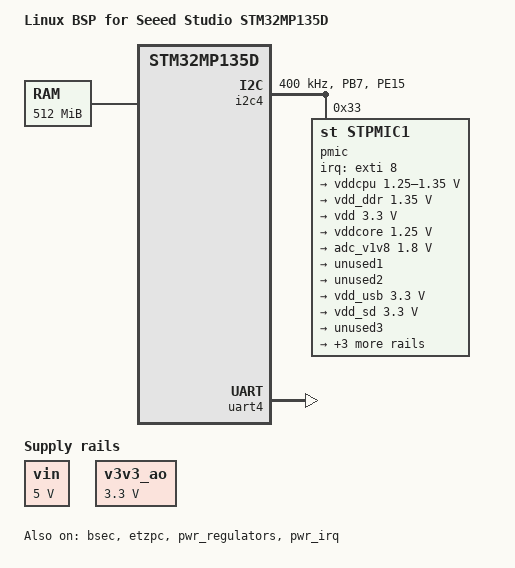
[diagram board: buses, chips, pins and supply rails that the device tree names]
// SPDX-License-Identifier: (GPL-2.0+ OR BSD-3-Clause)
/*
 * Copyright (C) 2026, STMicroelectronics - All Rights Reserved
 * Author: STM32CubeMX code generation for STMicroelectronics.
 */

/* For more information on Device Tree configuration, please refer to
 * https://wiki.st.com/stm32mpu/wiki/Category:Device_tree_configuration
 */

/dts-v1/;

#include <dt-bindings/pinctrl/stm32-pinfunc.h>
#include <dt-bindings/clock/stm32mp13-clksrc.h>
#include <dt-bindings/soc/stm32mp13-etzpc.h>
#include "stm32mp135.dtsi"
#include "stm32mp13xd.dtsi"

/* USER CODE BEGIN includes */
#include <dt-bindings/gpio/stm32mp_gpio.h>
#include <dt-bindings/mfd/st,stpmic1.h>
#include <dt-bindings/power/stm32mp1-power.h>
#include <dt-bindings/regulator/st,stm32mp13-regulator.h>
#include "stm32mp13-pinctrl.dtsi"
/* USER CODE END includes */

/ {
	model = "Linux BSP for Seeed Studio STM32MP135D";
	compatible = "seeed,stm32mp135d-odyssey-mx";

	memory@c0000000 {
		device_type = "memory";
		reg = <0xc0000000 0x20000000>;

		/* USER CODE BEGIN memory */
		/* USER CODE END memory */
	};

	reserved-memory {
		#address-cells = <1>;
		#size-cells = <1>;
		ranges;

		/* USER CODE BEGIN reserved-memory */
		optee@dd000000 {
			reg = <0xdd000000 0x3000000>;
			no-map;
		};		
		/* USER CODE END reserved-memory */
	};

	/* USER CODE BEGIN root */
	aliases{
		serial0 = &uart4;
	};

	chosen{
		stdout-path = "serial0:115200n8";
	};

	vin: vin {
		compatible = "regulator-fixed";
		regulator-name = "vin";
		regulator-min-microvolt = <5000000>;
		regulator-max-microvolt = <5000000>;
		regulator-always-on;
	};

	v3v3_ao: v3v3_ao {
		compatible = "regulator-fixed";
		regulator-name = "v3v3_ao";
		regulator-min-microvolt = <3300000>;
		regulator-max-microvolt = <3300000>;
		regulator-always-on;
	};

	magic_wol: magic_wol {
		compatible = "st,stm32mp1,pwr-irq-user";
		st,wakeup-pin-number = <2>;
		status = "okay";
	};

	cpu0_opp_table_1: cpu0-opp-table-1 {
		compatible = "operating-points-v2";
		
		opp-996000000 {
			opp-hz = /bits/ 64 <996000000>;
			opp-microvolt = <1350000>;
			opp-supported-hw = <0x2>;
			st,opp-default;
		};
	};
	/* USER CODE END root */
	clocks {
		/* USER CODE BEGIN clocks */
		/* USER CODE END clocks */
		clk_hsi: clk-hsi {
			clock-frequency = <64000000>;

			/* USER CODE BEGIN clk_hsi */
			/* USER CODE END clk_hsi */
		};
		clk_lse: clk-lse {
			status = "disabled";

			/* USER CODE BEGIN clk_lse */
			/* USER CODE END clk_lse */
		};
		clk_hse: clk-hse {
			clock-frequency = <24000000>;
			st,css;

			/* USER CODE BEGIN clk_hse */
			/* USER CODE END clk_hse */
		};
		clk_i2sin: clk-i2sin {
			status = "disabled";

			/* USER CODE BEGIN clk_i2sin */
			/* USER CODE END clk_i2sin */
		};
	};
}; /* root */

/* Warning: the configuration of the secured GPIOs should be added in (addons) User Section */
&pinctrl {
	i2c4_pins_mx: i2c4_mx-0 {
		pins {
			pinmux = <STM32_PINMUX('B', 7, AF6)>, /* I2C4_SDA */
				 <STM32_PINMUX('E', 15, AF6)>; /* I2C4_SCL */
			bias-disable;
			drive-open-drain;
			/* bias-pull-up; */
                 	/* drive-push-pull;			 */
			slew-rate = <0>;
		};
	};

	/* USER CODE BEGIN pinctrl */
	wakeup_pins: wakeup_pins {
		// @todo: PMIC_INIT is absent from hardware.md, we should add it as well as schematics.
		//        it would be nice to describe better what this pin do, as well as wakeup pins.
		wakeup_pin_1: pins1 {
			pinmux = <STM32_PINMUX('F', 8, GPIO)>;	// PMIC_INT
			bias-pull-up;
		};
		wakeup_pin_2: pins2 {
			pinmux = <STM32_PINMUX('I', 3, GPIO)>;	// ETH1_WKUP
		};
		wakeup_pin_3: pins3 {
			pinmux = <STM32_PINMUX('C', 13, GPIO)>;	// PMIC_WAKEUP
		};
		wakeup_pin_4: pins4 {
			pinmux = <STM32_PINMUX('H', 10, GPIO)>;	// NC
		};
		wakeup_pin_5: pins5 {
			pinmux = <STM32_PINMUX('I', 2, GPIO)>;	// NC
			bias-pull-up;
		};
		wakeup_pin_6: pins6 {
			pinmux = <STM32_PINMUX('C', 2, GPIO)>;	// NC
		};
	};

	uart4_pins_mx: uart4-0 {
		pins1 {
			pinmux = <STM32_PINMUX_NSEC('A', 13, AF8)>; /* UART4_TX */
			bias-disable;
			drive-push-pull;
			slew-rate = <0>;
		};
		pins2 {
			pinmux = <STM32_PINMUX_NSEC('E', 5, AF8)>; /* UART4_RX */
			bias-disable;
		};
	};
	/* USER CODE END pinctrl */
};

&bsec {
	status = "okay";

	/* USER CODE BEGIN bsec */
	/* USER CODE END bsec */
};

&etzpc {
	status = "okay";
	st,decprot = <
	/*"NS_R S_W" peripherals*/
	DECPROT(STM32MP1_ETZPC_DDRCTRLPHY_ID, DECPROT_NS_R_S_W, DECPROT_LOCK)
	/*"Non Secured" peripherals*/
	DECPROT(STM32MP1_ETZPC_SDMMC1_ID, DECPROT_NS_RW, DECPROT_UNLOCK)
	DECPROT(STM32MP1_ETZPC_OTG_ID, DECPROT_NS_RW, DECPROT_UNLOCK)	
	DECPROT(STM32MP1_ETZPC_USBPHYCTRL_ID, DECPROT_NS_RW, DECPROT_UNLOCK)
	DECPROT(STM32MP1_ETZPC_I2C4_ID, DECPROT_S_RW, DECPROT_UNLOCK)
	DECPROT(STM32MP1_ETZPC_STGENC_ID, DECPROT_S_RW, DECPROT_UNLOCK)
        /*"Secured" peripherals*/
	
	/*Restriction: following IDs are not managed  - please to use User-Section if needed:
		  STM32MP1_ETZPC_SRAMx_ID  STM32MP1_ETZPC_BKPSRAM_ID*/

	/* USER CODE BEGIN etzpc_decprot */
		/*STM32CubeMX generates a basic and standard configuration for ETZPC.
		Additional device configurations can be added here if needed.
		"etzpc" node could be also overloaded in "addons" User-Section.*/
	/* USER CODE END etzpc_decprot */
	>;

	/* USER CODE BEGIN etzpc */
	/* USER CODE END etzpc */
};


&pwr_regulators {
	status = "okay";

	/* USER CODE BEGIN pwr_regulators */
	system_suspend_supported_soc_modes = <
		STM32_PM_CSLEEP_RUN
		STM32_PM_CSTOP_ALLOW_LP_STOP
		STM32_PM_CSTOP_ALLOW_LPLV_STOP
		STM32_PM_CSTOP_ALLOW_LPLV_STOP2
		STM32_PM_CSTOP_ALLOW_STANDBY_DDR_SR
	>;

	system_off_soc_mode = <STM32_PM_SHUTDOWN>;
	vdd-supply = <&vdd>;
	vdd_3v3_usbfs-supply = <&vdd_usb>;
	/* USER CODE END pwr_regulators */
};

&i2c4 {
	pinctrl-names = "default";
	pinctrl-0 = <&i2c4_pins_mx>;
	status = "okay";

	/* USER CODE BEGIN i2c4 */
	i2c-scl-rising-time-ns = <185>;
	i2c-scl-falling-time-ns = <20>;
	clock-frequency = <400000>;
	
	pmic: stpmic@33 {
		compatible = "st,stpmic1";
		reg = <0x33>;
		status = "okay";
		interrupts-extended = <&exti 8 IRQ_TYPE_EDGE_FALLING>;
		wakeup-source;
		st,pmic-it-id = <IT_PONKEY_F IT_PONKEY_R>;
		st,notif-it-id = <0 2>;

		regulators {
			compatible = "st,stpmic1-regulators";
			buck1-supply = <&vin>;
			buck2-supply = <&vin>;
			buck3-supply = <&vin>;
			buck4-supply = <&vin>;
			ldo1-supply = <&vin>;
			ldo4-supply = <&vin>;
			ldo5-supply = <&vin>;
			ldo6-supply = <&vin>;
			vref_ddr-supply = <&vin>;
			pwr_sw1-supply = <&bst_out>;
			pwr_sw2-supply = <&v3v3_ao>;

			vddcpu: buck1 {
				regulator-name = "vddcpu";
				regulator-min-microvolt = <1250000>;
				regulator-max-microvolt = <1350000>;
				regulator-always-on;
				regulator-over-current-protection;

				lp-stop {
					regulator-suspend-microvolt = <1250000>;
				};
				lplv-stop {
					regulator-suspend-microvolt = <900000>;
				};
				lplv-stop2 {
					regulator-off-in-suspend;
				};
				standby-ddr-sr {
					regulator-off-in-suspend;
				};
				standby-ddr-off {
					regulator-off-in-suspend;
				};
			};

			vdd_ddr: buck2 {
				regulator-name = "vdd_ddr";
				regulator-min-microvolt = <1350000>;
				regulator-max-microvolt = <1350000>;
				regulator-always-on;
				regulator-over-current-protection;

				standby-ddr-off {
					regulator-off-in-suspend;
				};
			};

			vdd: buck3 {
				regulator-name = "vdd";
				regulator-min-microvolt = <3300000>;
				regulator-max-microvolt = <3300000>;
				regulator-always-on;
				st,mask-reset;
				regulator-over-current-protection;
			};

			vddcore: buck4 {
				regulator-name = "vddcore";
				regulator-min-microvolt = <1250000>;
				regulator-max-microvolt = <1250000>;
				regulator-always-on;
				regulator-over-current-protection;

				lplv-stop {
					regulator-suspend-microvolt = <900000>;
				};
				lplv-stop2 {
					regulator-suspend-microvolt = <900000>;
				};
				standby-ddr-sr {
					regulator-off-in-suspend;
				};
				standby-ddr-off {
					regulator-off-in-suspend;
				};
			};

			adc_v1v8: ldo1 {
				regulator-name = "v1v8_adc";
				regulator-min-microvolt = <1800000>;
				regulator-max-microvolt = <1800000>;

				standby-ddr-sr {
					regulator-off-in-suspend;
				};
				standby-ddr-off {
					regulator-off-in-suspend;
				};
			};

			unused1: ldo2 {
				regulator-name = "ldo2";
			};

			unused2: ldo3 {
				regulator-name = "ldo3";
			};

			vdd_usb: ldo4 {
				regulator-name = "vdd_usb";
				regulator-min-microvolt = <3300000>;
				regulator-max-microvolt = <3300000>;

				standby-ddr-sr {
					regulator-off-in-suspend;
				};
				standby-ddr-off {
					regulator-off-in-suspend;
				};
			};

			vdd_sd: ldo5 {
				regulator-name = "vddsd1";
				regulator-min-microvolt = <3300000>;
				regulator-max-microvolt = <3300000>;
				regulator-boot-on;

				standby-ddr-sr {
					regulator-off-in-suspend;
				};
				standby-ddr-off {
					regulator-off-in-suspend;
				};
			};

			unused3: ldo6 {
				regulator-name = "ldo6";
			};

			vref_ddr: vref_ddr {
				regulator-name = "vref_ddr";
				regulator-always-on;

				standby-ddr-sr {
					regulator-off-in-suspend;
				};
				standby-ddr-off {
					regulator-off-in-suspend;
				};
			};

			bst_out: boost {
				regulator-name = "bst_out";
			};

			v3v3_sw: pwr_sw2 {
				regulator-name = "v3v3_sw";
				regulator-active-discharge = <1>;
				regulator-min-microvolt = <3300000>;
				regulator-max-microvolt = <3300000>;
			};
		};
	};	
	/* USER CODE END i2c4 */
};

&rcc {
	status = "okay";
	clocks = <&clk_hse>, <&clk_hsi>, <&clk_lsi>, <&clk_csi>;
	clock-names = "clk-hse", "clk-hsi", "clk-lsi", "clk-csi";
	st,clksrc = <
		CLK_MPU_PLL1P
		CLK_AXI_PLL2P
		CLK_MLAHBS_PLL3
		CLK_RTC_LSI
		CLK_MCO1_DISABLED
		CLK_MCO2_DISABLED
		CLK_CKPER_DISABLED
		CLK_SDMMC1_PLL3R
           	CLK_STGEN_HSI
		CLK_USBPHY_HSE	
		CLK_I2C4_PCLK6
		CLK_USBO_USBPHY
		CLK_UART4_HSI
	>;
	st,clkdiv = <
		DIV(DIV_MPU, 1)
		DIV(DIV_AXI, 0)
		DIV(DIV_MLAHB, 0)
		DIV(DIV_APB1, 1)
		DIV(DIV_APB2, 1)
		DIV(DIV_APB3, 1)
		DIV(DIV_APB4, 1)
		DIV(DIV_APB5, 2)
		DIV(DIV_APB6, 1)
		DIV(DIV_RTC, 0)
		DIV(DIV_MCO1, 0)
		DIV(DIV_MCO2, 0)
	>;
	st,pll_vco {
		pll1_vco_1992Mhz: pll1-vco-1992Mhz {
			src = < CLK_PLL12_HSI >;
			divmn = < 3 61 >;
			frac = < 0x800 >;
		};
		pll2_vco_1066Mhz: pll2-vco-1066Mhz {
			src = < CLK_PLL12_HSI >;
			divmn = < 3 32 >;
			frac = < 0xa00 >;
		};
		pll3_vco_400Mhz: pll3-vco-400Mhz {
			src = < CLK_PLL3_HSE >;
			divmn = < 1 32 >;
			frac = < 0xaab >;
		};
		/* USER CODE BEGIN rcc_st-pll_vco */
		/* USER CODE END rcc_st-pll_vco */
	};

	pll1:st,pll@0 {
		compatible = "st,stm32mp1-pll";
		reg = <0>;

		st,pll = < &pll1_cfg1 >;

		pll1_cfg1: pll1_cfg1 {
			st,pll_vco = < &pll1_vco_1992Mhz >;
			st,pll_div_pqr = < 0 1 1 >;
		};
		/* USER CODE BEGIN pll1 */
		/* USER CODE END pll1 */
	};

	pll2:st,pll@1 {
		compatible = "st,stm32mp1-pll";
		reg = <1>;

		st,pll = < &pll2_cfg1 >;

		pll2_cfg1: pll2_cfg1 {
			st,pll_vco = < &pll2_vco_1066Mhz >;
			st,pll_div_pqr = < 1 1 0 >;
		};
		/* USER CODE BEGIN pll2 */
		/* USER CODE END pll2 */
	};

	pll3:st,pll@2 {
		compatible = "st,stm32mp1-pll";
		reg = <2>;

		st,pll = < &pll3_cfg1 >;

		pll3_cfg1: pll3_cfg1 {
			st,pll_vco = < &pll3_vco_400Mhz >;
			st,pll_div_pqr = < 1 1 1 >;
		};
		/* USER CODE BEGIN pll3 */
		/* USER CODE END pll3 */
	};

	st,clk_opp {
		/* CK_MPU clock config for MP13 */
		st,ck_mpu {

			cfg_1 {
				hz = < 996000000 >;
				st,clksrc = < CLK_MPU_PLL1P >;
				st,pll = < &pll1_cfg1 >;
			};
			/* USER CODE BEGIN rcc_st-ck_mpu */
			/* USER CODE END rcc_st-ck_mpu */
		};

		/* CK_AXI clock config for MP13 */
		st,ck_axi {

			cfg_1 {
				hz = < 266500000 >;
				st,clksrc = < CLK_AXI_PLL2P >;
				st,clkdiv = < DIV(DIV_AXI, 0) >;
				st,pll = < &pll2_cfg1 >;
			};
			/* USER CODE BEGIN rcc_st-ck_axi */
			/* USER CODE END rcc_st-ck_axi */
		};

		/* CK_MLAHBS clock config for MP13 */
		st,ck_mlahbs {

			cfg_1 {
				hz = < 200000244 >;
				st,clksrc = < CLK_MLAHBS_PLL3 >;
				st,clkdiv = < DIV(DIV_MLAHB, 0) >;
				st,pll = < &pll3_cfg1 >;
			};

			/* USER CODE BEGIN rcc_st-ck_mlahbs */
			/* USER CODE END rcc_st-ck_mlahbs */
		};
	};

	/* USER CODE BEGIN rcc */
	/* USER CODE END rcc */
};

/* USER CODE BEGIN addons */
&cpu0 {
	cpu-supply = <&vddcpu>;
	operating-points-v2 = <&cpu0_opp_table_1>;
};

&scmi_regu {
	scmi_vddcpu: voltd-vddcpu {
		reg = <VOLTD_SCMI_STPMIC1_BUCK1>;
		voltd-supply = <&vddcpu>;
	};
	scmi_vdd: voltd-vdd {
		reg = <VOLTD_SCMI_STPMIC1_BUCK3>;
		voltd-supply = <&vdd>;
	};
	scmi_vddcore: voltd-vddcore {
		reg = <VOLTD_SCMI_STPMIC1_BUCK4>;
		voltd-supply = <&vddcore>;
	};
	scmi_adc_v1v8: voltd-adc-v1v8 {
		reg = <VOLTD_SCMI_STPMIC1_LDO1>;
		voltd-supply = <&adc_v1v8>;
	};
	scmi_vdd_usb: voltd-vdd-usb {
		reg = <VOLTD_SCMI_STPMIC1_LDO4>;
		voltd-supply = <&vdd_usb>;
	};
	scmi_vdd_sd: voltd-vdd-sd {
		reg = <VOLTD_SCMI_STPMIC1_LDO5>;
		voltd-supply = <&vdd_sd>;
	};
	scmi_v3v3_sw: voltd-v3v3-sw {
		reg = <VOLTD_SCMI_STPMIC1_PWR_SW2>;
		voltd-supply = <&v3v3_sw>;
	};
};

&pwr_irq {
	pinctrl-names = "default";
	pinctrl-0 = <&wakeup_pins>;
	status = "okay";
};

&gpioc {
	st,protreg = < (TZPROT(13)) >;
};

&gpiob {
	st,protreg = < (TZPROT(7)) >;
};

&gpioe {
	st,protreg = < (TZPROT(15)) >;
};

&sdmmc2_io {
	status = "disabled";
};

&sdmmc1_io {
	vddsd1-supply = <&vdd_sd>;
};

&uart4 {
	pinctrl-names = "default";
	pinctrl-0 = <&uart4_pins_mx>;
	status = "okay";
};
/* USER CODE END addons */

